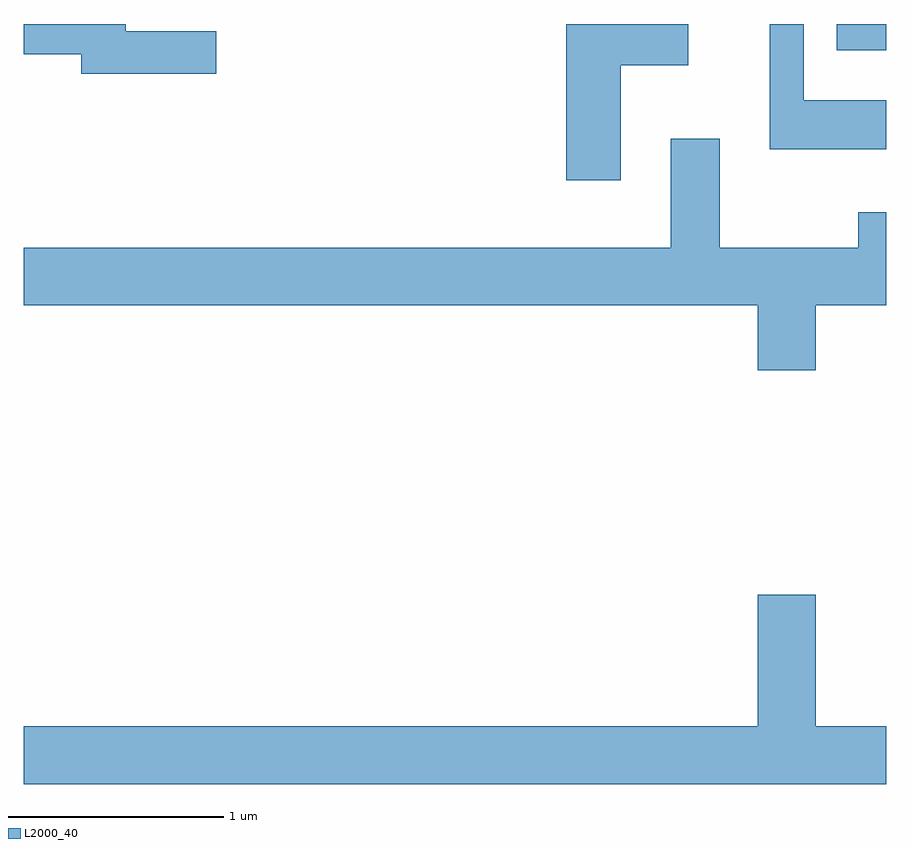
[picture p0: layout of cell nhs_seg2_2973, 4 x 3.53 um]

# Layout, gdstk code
import gdstk
lib = gdstk.Library(unit=1e-6, precision=1e-09)
def R(c, l, rs):  # rectangles x0, y0, x1, y1
    for r in rs: c.add(gdstk.rectangle(r[:2], r[2:], *l))
def P(c, l, *ps):  # polygons
    for p in ps: c.add(gdstk.Polygon(p, *l))
L2000_40 = (2000, 40)

nhs_seg2_2973 = lib.new_cell('nhs_seg2_2973')
R(nhs_seg2_2973, L2000_40, [(275.381,1091.681,275.611,1091.802)])
P(nhs_seg2_2973, L2000_40, [(272.504,1091.769),(272.084,1091.769),(272.084,1091.802),(271.611,1091.802),(271.611,1091.661),(271.876,1091.661),(271.876,1091.571),(272.504,1091.571)],
  [(275.611,1091.449),(275.229,1091.449),(275.229,1091.802),(275.071,1091.802),(275.071,1091.221),(275.611,1091.221)],
  [(274.379,1091.611),(274.694,1091.611),(274.694,1091.802),(274.126,1091.802),(274.126,1091.076),(274.379,1091.076)],
  [(275.284,1090.496),(275.611,1090.496),(275.611,1090.929),(275.481,1090.929),(275.481,1090.764),(274.839,1090.764),(274.839,1091.269),(274.611,1091.269),(274.611,1090.764),(271.611,1090.764),(271.611,1090.496),(275.016,1090.496),(275.016,1090.196),(275.284,1090.196)],
  [(275.611,1088.544),(275.284,1088.544),(275.284,1089.154),(275.016,1089.154),(275.016,1088.544),(271.611,1088.544),(271.611,1088.276),(275.611,1088.276)])

lib.write_gds('nhs_seg2_2973.gds')
